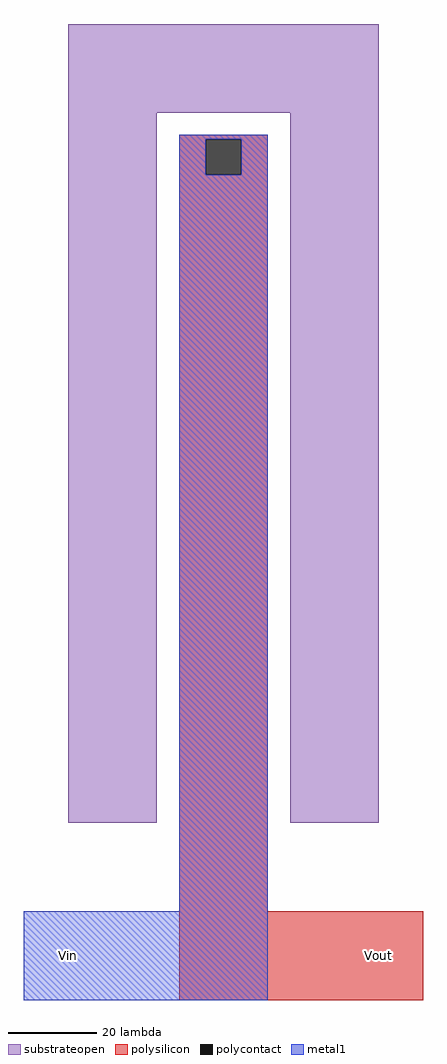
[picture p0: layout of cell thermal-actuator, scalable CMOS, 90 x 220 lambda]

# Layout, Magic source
magic
tech scmos
<< polysilicon >>
rect 35 194 55 195
rect 35 186 41 194
rect 49 186 55 194
rect 35 20 55 186
rect 35 0 90 20
<< metal1 >>
rect 35 194 55 195
rect 35 186 41 194
rect 49 186 55 194
rect 35 20 55 186
rect 0 0 55 20
<< polycontact >>
rect 41 186 49 194
<< substrateopen >>
rect 10 200 80 220
rect 10 40 30 200
rect 60 40 80 200
<< labels >>
rlabel metal1 10 10 10 10 6 Vin
rlabel polysilicon 80 10 80 10 6 Vout
<< end >>
